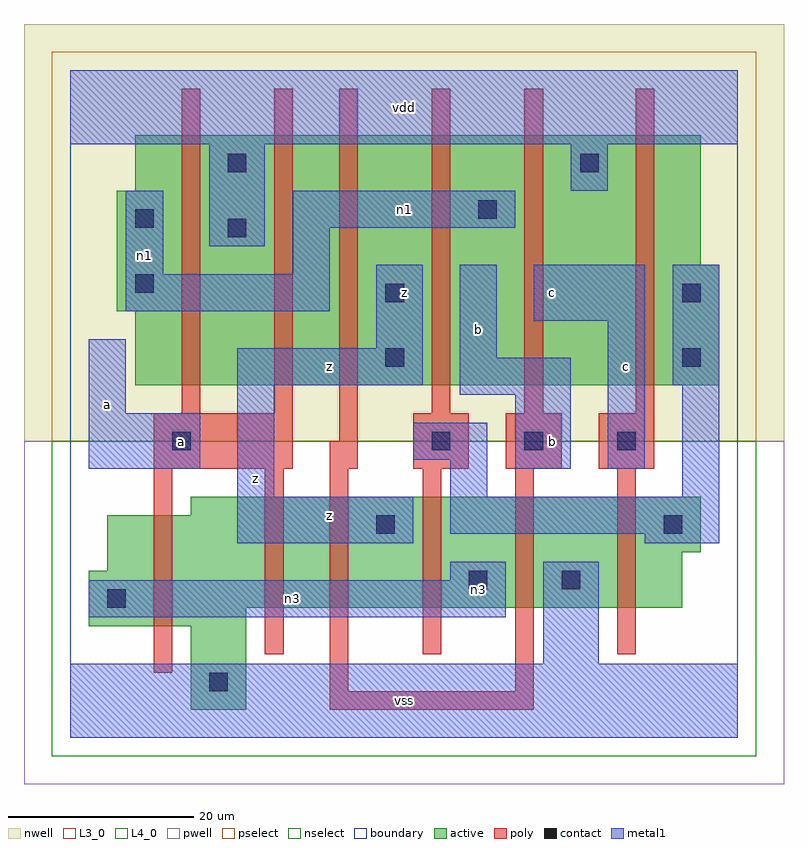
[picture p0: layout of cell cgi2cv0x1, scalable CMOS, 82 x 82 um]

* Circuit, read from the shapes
.subckt cgi2cv0x1 a b c n1 n3 vdd vss z
M1 vss a n3 VSUBS nfet w=12u l=2u
M2 n2 a vss VSUBS nfet w=12u l=2u
M3 z b n2 VSUBS nfet w=12u l=2u
M4 n3 n4 z VSUBS nfet w=12u l=2u
M5 vss b n3 VSUBS nfet w=12u l=2u
M6 n4 c vss VSUBS nfet w=12u l=2u
M7 vdd a n1 n5 pfet w=27u l=2u
M8 n6 a vdd n5 pfet w=27u l=2u
M9 z b n6 n5 pfet w=27u l=2u
M10 n1 n4 z n5 pfet w=27u l=2u
M11 vdd b n1 n5 pfet w=27u l=2u
M12 n4 c vdd n5 pfet w=27u l=2u
.ends

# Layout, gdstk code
import gdstk
lib = gdstk.Library(unit=1e-6, precision=1e-09)
def R(c, l, rs):  # rectangles x0, y0, x1, y1
    for r in rs: c.add(gdstk.rectangle(r[:2], r[2:], *l))
def A(c, l, x, y, w, h, nx, ny, dx, dy):  # array of equal rectangles
    R(c, l, [(x+i*dx, y+j*dy, x+i*dx+w, y+j*dy+h) for i in range(nx) for j in range(ny)])
L3_0 = (3, 0)
L4_0 = (4, 0)
contact = (25, 0)
pwell = (41, 0)
nwell = (42, 0)
active = (43, 0)
pselect = (44, 0)
nselect = (45, 0)
poly = (46, 0)
metal1 = (49, 0)
boundary = (63, 0)

cgi2cv0x1 = lib.new_cell('cgi2cv0x1')
R(cgi2cv0x1, L3_0, [(13,3,19,12), (2,12,19,14), (2,14,66,18), (4,18,66,20), (4,20,68,24), (13,24,68,26)])
R(cgi2cv0x1, L4_0, [(7,38,70,46), (5,46,70,51), (5,51,68,59), (7,59,68,65)])
A(cgi2cv0x1, contact, 39, 31, 2, 2, 3, 1, 10, 0)
R(cgi2cv0x1, contact, [(15,5,17,7), (4,14,6,16), (43,16,45,18), (53,16,55,18), (33,22,35,24), (64,22,66,24), (11,31,13,33), (34,40,36,42), (66,40,68,42), (34,47,36,49), (66,47,68,49), (7,48,9,50), (17,54,19,56), (7,55,9,57), (44,56,46,58), (17,61,19,63), (55,61,57,63)])
R(cgi2cv0x1, pwell, [(-5,-5,77,32)])
R(cgi2cv0x1, nwell, [(-5,32,77,77)])
R(cgi2cv0x1, active, [(13,3,19,12), (2,12,19,14), (2,14,66,18), (4,18,66,20), (4,20,68,24), (13,24,68,26), (7,38,70,46), (5,46,70,51), (5,51,68,59), (7,59,68,65)])
R(cgi2cv0x1, pselect, [(-2,32,74,74)])
R(cgi2cv0x1, nselect, [(-2,-2,74,32)])
A(cgi2cv0x1, poly, 37, 29, 6, 6, 3, 1, 10, 0)
R(cgi2cv0x1, poly, [(28,3,50,5), (28,5,30,29), (48,5,50,29), (9,7,11,29), (21,9,23,29), (38,9,40,29), (59,9,61,29), (9,29,24,35), (28,29,31,32), (29,32,31,70), (12,35,14,70), (22,35,24,70), (39,35,41,70), (49,35,51,70), (61,35,63,70)])
R(cgi2cv0x1, metal1, [(0,0,72,8), (51,8,57,19), (2,13,47,17), (41,17,47,19), (18,21,37,26), (62,21,70,22), (41,22,70,26), (18,26,22,38), (41,26,45,30), (66,26,70,38), (2,29,14,35), (48,29,54,37), (58,29,62,45), (37,30,45,34), (2,35,6,43), (42,37,54,41), (18,38,38,42), (65,38,70,51), (42,41,46,51), (33,42,38,51), (50,45,62,51), (6,46,28,50), (6,50,10,59), (24,50,28,55), (15,53,21,64), (24,55,48,59), (54,59,58,64), (0,64,72,72)])
R(cgi2cv0x1, boundary, [(0,0,72,72)])
cgi2cv0x1.add(gdstk.Label('n1', (8,52), layer=49, texttype=0))
cgi2cv0x1.add(gdstk.Label('n3', (24,15), layer=49, texttype=0))
cgi2cv0x1.add(gdstk.Label('n3', (44,16), layer=49, texttype=0))
cgi2cv0x1.add(gdstk.Label('n1', (36,57), layer=49, texttype=0))
cgi2cv0x1.add(gdstk.Label('a', (12,32), layer=49, texttype=0))
cgi2cv0x1.add(gdstk.Label('a', (4,36), layer=49, texttype=0))
cgi2cv0x1.add(gdstk.Label('z', (20,28), layer=49, texttype=0))
cgi2cv0x1.add(gdstk.Label('z', (28,24), layer=49, texttype=0))
cgi2cv0x1.add(gdstk.Label('z', (28,40), layer=49, texttype=0))
cgi2cv0x1.add(gdstk.Label('vss', (36,4), layer=49, texttype=0))
cgi2cv0x1.add(gdstk.Label('b', (52,32), layer=49, texttype=0))
cgi2cv0x1.add(gdstk.Label('z', (36,48), layer=49, texttype=0))
cgi2cv0x1.add(gdstk.Label('c', (52,48), layer=49, texttype=0))
cgi2cv0x1.add(gdstk.Label('b', (44,44), layer=49, texttype=0))
cgi2cv0x1.add(gdstk.Label('vdd', (36,68), layer=49, texttype=0))
cgi2cv0x1.add(gdstk.Label('c', (60,40), layer=49, texttype=0))

lib.write_gds('cgi2cv0x1.gds')
